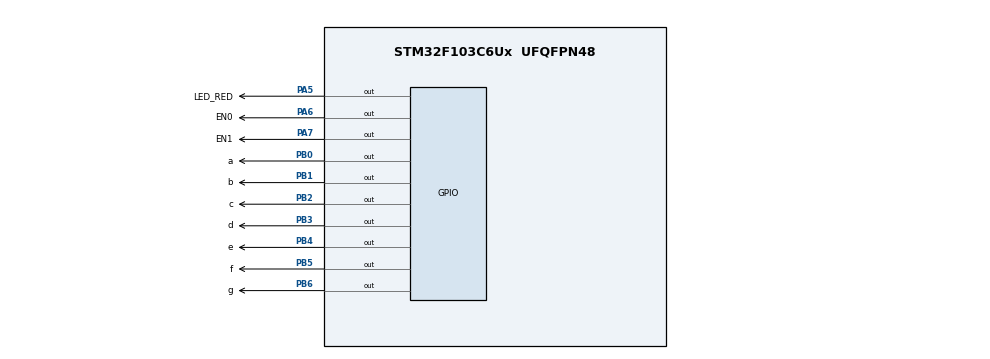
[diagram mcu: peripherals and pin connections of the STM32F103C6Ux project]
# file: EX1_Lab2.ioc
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Mcu.Family=STM32F1
Mcu.Name=STM32F103C6Ux
Mcu.Package=UFQFPN48
NVIC.PriorityGroup=NVIC_PRIORITYGROUP_4
NVIC.TIM2_IRQn=true\:0\:0\:false\:false\:true\:true\:true
PA5.GPIO_Label=LED_RED
PA5.Signal=GPIO_Output
PA6.GPIO_Label=EN0
PA6.Signal=GPIO_Output
PA7.GPIO_Label=EN1
PA7.Signal=GPIO_Output
PB0.GPIO_Label=a
PB0.Signal=GPIO_Output
PB1.GPIO_Label=b
PB1.Signal=GPIO_Output
PB2.GPIO_Label=c
PB2.Signal=GPIO_Output
PB3.GPIO_Label=d
PB3.Signal=GPIO_Output
PB4.GPIO_Label=e
PB4.Signal=GPIO_Output
PB5.GPIO_Label=f
PB5.Signal=GPIO_Output
PB6.GPIO_Label=g
PB6.Signal=GPIO_Output
ProjectManager.HeapSize=0x200
ProjectManager.StackSize=0x400
ProjectManager.TargetToolchain=STM32CubeIDE
RCC.APB1Freq_Value=8000000
RCC.APB2Freq_Value=8000000
TIM2.Period=9
TIM2.Prescaler=7999
VP_SYS_VS_ND.Mode=No_Debug
VP_TIM2_VS_ClockSourceINT.Mode=Internal
board=custom

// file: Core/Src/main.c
/* USER CODE BEGIN Header */
/**
  ******************************************************************************
  * @file           : main.c
  * @brief          : Main program body
  ******************************************************************************
  * @attention
  *
  * <h2><center>&copy; Copyright (c) 2025 STMicroelectronics.
  * All rights reserved.</center></h2>
  *
  * This software component is licensed by ST under BSD 3-Clause license,
  * the "License"; You may not use this file except in compliance with the
  * License. You may obtain a copy of the License at:
  *                        opensource.org/licenses/BSD-3-Clause
  *
  ******************************************************************************
  */
/* USER CODE END Header */
#include "main.h"

TIM_HandleTypeDef htim2;

void SystemClock_Config(void);
static void MX_GPIO_Init(void);
static void MX_TIM2_Init(void);

int main(void)
{

  /* MCU Configuration--------------------------------------------------------*/

  /* Reset of all peripherals, Initializes the Flash interface and the Systick. */
  HAL_Init();

  /* Configure the system clock */
  SystemClock_Config();

  /* Initialize all configured peripherals */
  MX_GPIO_Init();
  MX_TIM2_Init();
  /* USER CODE BEGIN 2 */
  HAL_TIM_Base_Start_IT(&htim2);
  /* USER CODE END 2 */

  /* Infinite loop */
  while (1)
  {

  }
}

void SystemClock_Config(void)
{
  RCC_OscInitTypeDef RCC_OscInitStruct = {0};
  RCC_ClkInitTypeDef RCC_ClkInitStruct = {0};

  /** Initializes the RCC Oscillators according to the specified parameters
  * in the RCC_OscInitTypeDef structure.
  */
  RCC_OscInitStruct.OscillatorType = RCC_OSCILLATORTYPE_HSI;
  RCC_OscInitStruct.HSIState = RCC_HSI_ON;
  RCC_OscInitStruct.HSICalibrationValue = RCC_HSICALIBRATION_DEFAULT;
  RCC_OscInitStruct.PLL.PLLState = RCC_PLL_NONE;
  if (HAL_RCC_OscConfig(&RCC_OscInitStruct) != HAL_OK)
  {
    Error_Handler();
  }
  /** Initializes the CPU, AHB and APB buses clocks
  */
  RCC_ClkInitStruct.ClockType = RCC_CLOCKTYPE_HCLK|RCC_CLOCKTYPE_SYSCLK
                              |RCC_CLOCKTYPE_PCLK1|RCC_CLOCKTYPE_PCLK2;
  RCC_ClkInitStruct.SYSCLKSource = RCC_SYSCLKSOURCE_HSI;
  RCC_ClkInitStruct.AHBCLKDivider = RCC_SYSCLK_DIV1;
  RCC_ClkInitStruct.APB1CLKDivider = RCC_HCLK_DIV1;
  RCC_ClkInitStruct.APB2CLKDivider = RCC_HCLK_DIV1;

  if (HAL_RCC_ClockConfig(&RCC_ClkInitStruct, FLASH_LATENCY_0) != HAL_OK)
  {
    Error_Handler();
  }
}

static void MX_TIM2_Init(void)
{

  TIM_ClockConfigTypeDef sClockSourceConfig = {0};
  TIM_MasterConfigTypeDef sMasterConfig = {0};

  htim2.Instance = TIM2;
  htim2.Init.Prescaler = 7999;
  htim2.Init.CounterMode = TIM_COUNTERMODE_UP;
  htim2.Init.Period = 9;
  htim2.Init.ClockDivision = TIM_CLOCKDIVISION_DIV1;
  htim2.Init.AutoReloadPreload = TIM_AUTORELOAD_PRELOAD_DISABLE;
  if (HAL_TIM_Base_Init(&htim2) != HAL_OK)
  {
    Error_Handler();
  }
  sClockSourceConfig.ClockSource = TIM_CLOCKSOURCE_INTERNAL;
  if (HAL_TIM_ConfigClockSource(&htim2, &sClockSourceConfig) != HAL_OK)
  {
    Error_Handler();
  }
  sMasterConfig.MasterOutputTrigger = TIM_TRGO_RESET;
  sMasterConfig.MasterSlaveMode = TIM_MASTERSLAVEMODE_DISABLE;
  if (HAL_TIMEx_MasterConfigSynchronization(&htim2, &sMasterConfig) != HAL_OK)
  {
    Error_Handler();
  }

}

static void MX_GPIO_Init(void)
{
  GPIO_InitTypeDef GPIO_InitStruct = {0};

  /* GPIO Ports Clock Enable */
  __HAL_RCC_GPIOA_CLK_ENABLE();
  __HAL_RCC_GPIOB_CLK_ENABLE();

  /*Configure GPIO pin Output Level */
  HAL_GPIO_WritePin(GPIOA, LED_RED_Pin|EN0_Pin|EN1_Pin, GPIO_PIN_RESET);

  /*Configure GPIO pin Output Level */
  HAL_GPIO_WritePin(GPIOB, a_Pin|b_Pin|c_Pin|d_Pin
                          |e_Pin|f_Pin|g_Pin, GPIO_PIN_RESET);

  /*Configure GPIO pins : LED_RED_Pin EN0_Pin EN1_Pin */
  GPIO_InitStruct.Pin = LED_RED_Pin|EN0_Pin|EN1_Pin;
  GPIO_InitStruct.Mode = GPIO_MODE_OUTPUT_PP;
  GPIO_InitStruct.Pull = GPIO_NOPULL;
  GPIO_InitStruct.Speed = GPIO_SPEED_FREQ_LOW;
  HAL_GPIO_Init(GPIOA, &GPIO_InitStruct);

  /*Configure GPIO pins : a_Pin b_Pin c_Pin d_Pin
                           e_Pin f_Pin g_Pin */
  GPIO_InitStruct.Pin = a_Pin|b_Pin|c_Pin|d_Pin
                          |e_Pin|f_Pin|g_Pin;
  GPIO_InitStruct.Mode = GPIO_MODE_OUTPUT_PP;
  GPIO_InitStruct.Pull = GPIO_NOPULL;
  GPIO_InitStruct.Speed = GPIO_SPEED_FREQ_LOW;
  HAL_GPIO_Init(GPIOB, &GPIO_InitStruct);

}

/* USER CODE BEGIN 4 */
int status = 0;
int buffer[2] = {1,2};
void display7SEG(int num) {
    static const uint8_t seven_seg_code[10] = {
        0b1000000, //0
        0b1111001, //1
        0b0100100, //2
        0b0110000, //3
        0b0011001, //4
        0b0010010, //5
        0b0000010, //6
        0b1111000, //7
        0b0000000, //8
        0b0010000  //9
    };

    uint8_t code = seven_seg_code[num];
    HAL_GPIO_WritePin(GPIOB, GPIO_PIN_6, (code & 0b1000000) ? GPIO_PIN_SET : GPIO_PIN_RESET); // a
    HAL_GPIO_WritePin(GPIOB, GPIO_PIN_5, (code & 0b0100000) ? GPIO_PIN_SET : GPIO_PIN_RESET); // b
    HAL_GPIO_WritePin(GPIOB, GPIO_PIN_4, (code & 0b0010000) ? GPIO_PIN_SET : GPIO_PIN_RESET); // c
    HAL_GPIO_WritePin(GPIOB, GPIO_PIN_3, (code & 0b0001000) ? GPIO_PIN_SET : GPIO_PIN_RESET); // d
    HAL_GPIO_WritePin(GPIOB, GPIO_PIN_2, (code & 0b0000100) ? GPIO_PIN_SET : GPIO_PIN_RESET); // e
    HAL_GPIO_WritePin(GPIOB, GPIO_PIN_1, (code & 0b0000010) ? GPIO_PIN_SET : GPIO_PIN_RESET); // f
    HAL_GPIO_WritePin(GPIOB, GPIO_PIN_0, (code & 0b0000001) ? GPIO_PIN_SET : GPIO_PIN_RESET); // g
}

int counter = 100;
void HAL_TIM_PeriodElapsedCallback(TIM_HandleTypeDef *htim)
{
	counter--;
	if (counter <= 0)
	{
		counter = 100;
		HAL_GPIO_TogglePin(LED_RED_GPIO_Port, LED_RED_Pin);
	}

	if (counter == 50 || counter == 0) {
		HAL_GPIO_WritePin(GPIOA, EN0_Pin | EN1_Pin, SET);
	    display7SEG(buffer[status]);
	    if (status == 0)
	    	HAL_GPIO_WritePin(GPIOA, EN0_Pin, RESET);
	    else
	    	HAL_GPIO_WritePin(GPIOA, EN1_Pin, RESET);
	    status = 1 - status;
	}
}
/* USER CODE END 4 */

void Error_Handler(void)
{
  __disable_irq();
  while (1)
  {
  }
}

/************************ (C) COPYRIGHT STMicroelectronics *****END OF FILE****/
